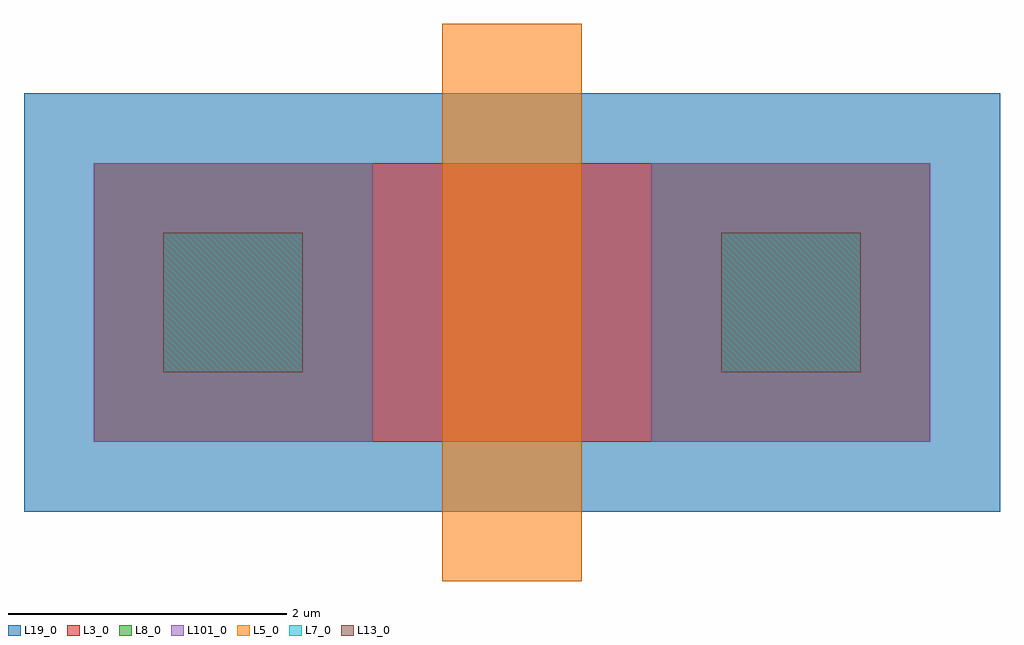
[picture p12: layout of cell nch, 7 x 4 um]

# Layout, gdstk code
import gdstk
lib = gdstk.Library(unit=1e-6, precision=1e-09)
def R(c, l, rs):  # rectangles x0, y0, x1, y1
    for r in rs: c.add(gdstk.rectangle(r[:2], r[2:], *l))
L3_0 = (3, 0)
L5_0 = (5, 0)
L7_0 = (7, 0)
L8_0 = (8, 0)
L13_0 = (13, 0)
L19_0 = (19, 0)
L101_0 = (101, 0)

dcont = lib.new_cell('dcont')
R(dcont, L3_0, [(-1,-1,1,1)])
R(dcont, L7_0, [(-0.5,-0.5,0.5,0.5)])
R(dcont, L8_0, [(-1,-1,1,1)])
R(dcont, L13_0, [(-0.5,-0.5,0.5,0.5)])
R(dcont, L101_0, [(-1,-1,1,1)])
dcont.add(gdstk.Label('dcont', (0,0), layer=13, texttype=0))

nch = lib.new_cell('nch')
R(nch, L3_0, [(-3,-1,3,1)])
R(nch, L5_0, [(-0.5,-2,0.5,2)])
R(nch, L8_0, [(-3,-1,-1,1), (1,-1,3,1)])
R(nch, L19_0, [(-3.5,-1.5,3.5,1.5)])
nch.add(gdstk.Reference(dcont, (2,0)))
nch.add(gdstk.Reference(dcont, (-2,0)))

lib.write_gds('nch.gds')
